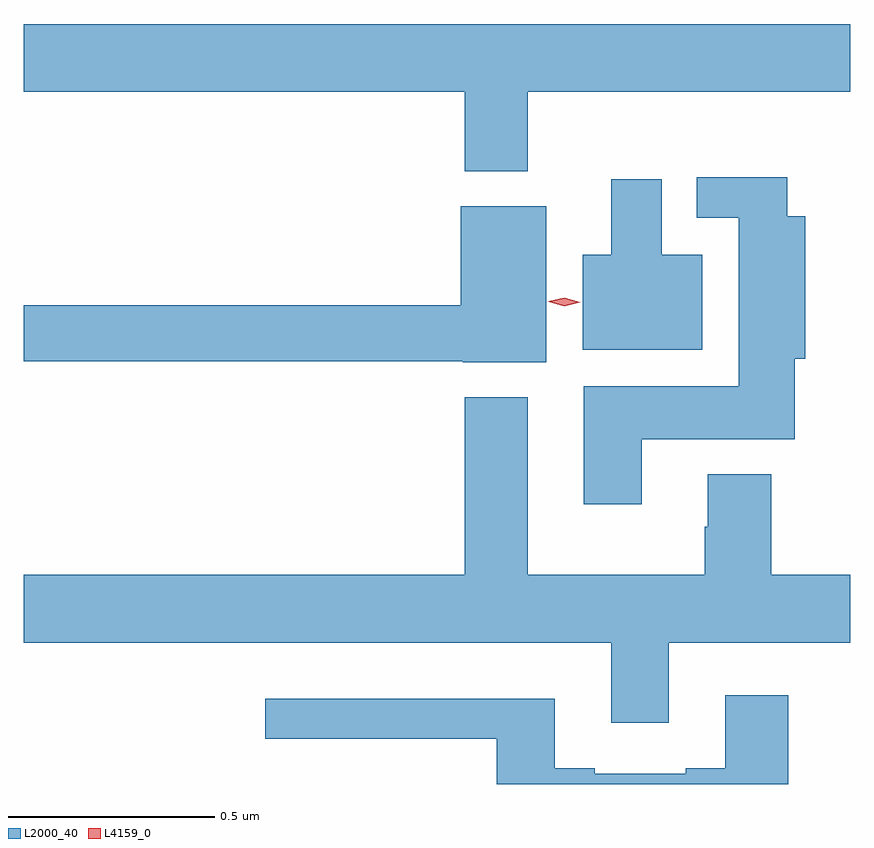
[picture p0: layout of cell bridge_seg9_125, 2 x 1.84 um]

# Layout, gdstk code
import gdstk
lib = gdstk.Library(unit=1e-6, precision=1e-09)
def P(c, l, *ps):  # polygons
    for p in ps: c.add(gdstk.Polygon(p, *l))
L2000_40 = (2000, 40)
L4159_0 = (4159, 0)

bridge_seg9_125 = lib.new_cell('bridge_seg9_125')
P(bridge_seg9_125, L2000_40, [(483.865,1235.048),(484.646,1235.048),(484.646,1235.212),(482.646,1235.212),(482.646,1235.048),(483.713,1235.048),(483.713,1234.856),(483.865,1234.856)],
  [(484.141,1234.208),(484.511,1234.208),(484.511,1234.403),(484.537,1234.403),(484.537,1234.747),(484.493,1234.747),(484.493,1234.841),(484.274,1234.841),(484.274,1234.743),(484.376,1234.743),(484.376,1234.336),(484.001,1234.336),(484.001,1234.05),(484.141,1234.05)],
  [(484.288,1234.654),(484.189,1234.654),(484.189,1234.837),(484.067,1234.837),(484.067,1234.654),(483.998,1234.654),(483.998,1234.424),(484.288,1234.424)],
  [(483.91,1234.771),(483.704,1234.771),(483.704,1234.532),(482.646,1234.532),(482.646,1234.396),(483.708,1234.396),(483.708,1234.394),(483.91,1234.394)],
  [(484.207,1233.716),(484.646,1233.716),(484.646,1233.88),(484.454,1233.88),(484.454,1234.123),(484.301,1234.123),(484.301,1233.996),(484.294,1233.996),(484.294,1233.88),(483.865,1233.88),(483.865,1234.309),(483.713,1234.309),(483.713,1233.88),(482.646,1233.88),(482.646,1233.716),(484.067,1233.716),(484.067,1233.522),(484.207,1233.522)],
  [(484.496,1233.589),(484.343,1233.589),(484.343,1233.412),(484.247,1233.412),(484.247,1233.399),(484.027,1233.399),(484.027,1233.412),(483.931,1233.412),(483.931,1233.58),(483.231,1233.58),(483.231,1233.483),(483.791,1233.483),(483.791,1233.374),(484.496,1233.374)])
P(bridge_seg9_125, L4159_0, [(483.954,1234.53),(483.916,1234.54),(483.916,1234.54),(483.916,1234.541),(483.954,1234.55),(483.992,1234.539),(483.992,1234.539),(483.992,1234.539)])

lib.write_gds('bridge_seg9_125.gds')
